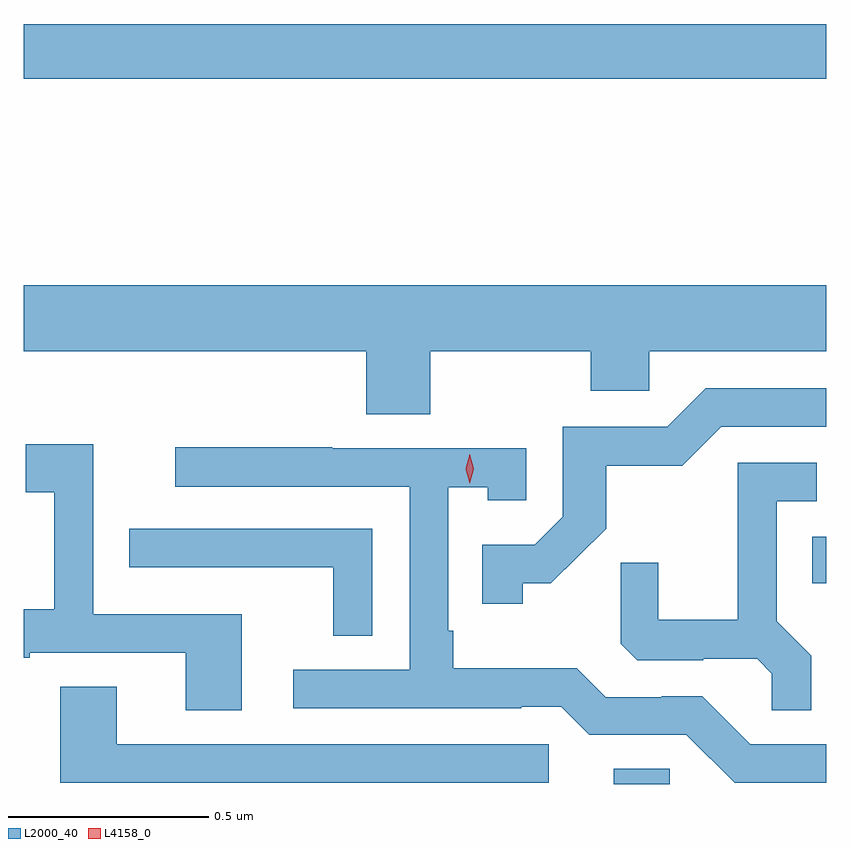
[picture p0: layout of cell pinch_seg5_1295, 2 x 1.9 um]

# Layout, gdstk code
import gdstk
lib = gdstk.Library(unit=1e-6, precision=1e-09)
def R(c, l, rs):  # rectangles x0, y0, x1, y1
    for r in rs: c.add(gdstk.rectangle(r[:2], r[2:], *l))
def P(c, l, *ps):  # polygons
    for p in ps: c.add(gdstk.Polygon(p, *l))
L2000_40 = (2000, 40)
L4158_0 = (4158, 0)

pinch_seg5_1295 = lib.new_cell('pinch_seg5_1295')
R(pinch_seg5_1295, L2000_40, [(385.199,869.001,385.338,869.039), (385.694,869.501,385.728,869.617), (383.728,870.76,385.728,870.896)])
P(pinch_seg5_1295, L2000_40, [(384.741,870.08),(385.141,870.08),(385.141,869.982),(385.287,869.982),(385.287,870.08),(385.728,870.08),(385.728,870.244),(383.728,870.244),(383.728,870.08),(384.581,870.08),(384.581,869.923),(384.741,869.923)],
  [(384.972,869.501),(385.042,869.501),(385.18,869.638),(385.18,869.794),(385.369,869.794),(385.467,869.892),(385.728,869.892),(385.728,869.988),(385.428,869.988),(385.332,869.892),(385.071,869.892),(385.071,869.667),(385.002,869.598),(384.871,869.598),(384.871,869.451),(384.972,869.451)],
  [(384.271,869.424),(383.901,869.424),(383.901,869.848),(383.733,869.848),(383.733,869.728),(383.804,869.728),(383.804,869.437),(383.728,869.437),(383.728,869.316),(383.743,869.316),(383.743,869.328),(384.131,869.328),(384.131,869.185),(384.271,869.185)],
  [(385.728,869.1),(385.539,869.1),(385.419,869.22),(385.318,869.22),(385.318,869.217),(385.179,869.217),(385.106,869.29),(384.799,869.29),(384.799,869.383),(384.786,869.383),(384.786,869.741),(384.885,869.741),(384.885,869.709),(384.981,869.709),(384.981,869.838),(384.497,869.838),(384.497,869.841),(384.105,869.841),(384.105,869.742),(384.69,869.742),(384.69,869.286),(384.399,869.286),(384.399,869.19),(384.968,869.19),(384.968,869.193),(385.068,869.193),(385.137,869.124),(385.38,869.124),(385.5,869.004),(385.728,869.004)],
  [(385.691,869.321),(385.605,869.407),(385.605,869.706),(385.705,869.706),(385.705,869.802),(385.508,869.802),(385.508,869.41),(385.31,869.41),(385.31,869.553),(385.216,869.553),(385.216,869.351),(385.257,869.31),(385.422,869.31),(385.422,869.313),(385.556,869.313),(385.593,869.276),(385.593,869.185),(385.691,869.185)],
  [(384.597,869.637),(383.991,869.637),(383.991,869.542),(384.103,869.542),(384.103,869.541),(384.499,869.541),(384.499,869.371),(384.597,869.371)],
  [(385.036,869.1),(383.959,869.1),(383.959,869.243),(383.819,869.243),(383.819,869.004),(385.036,869.004)])
P(pinch_seg5_1295, L4158_0, [(384.84,869.751),(384.84,869.751),(384.83,869.787),(384.84,869.823),(384.84,869.823),(384.84,869.823),(384.85,869.787),(384.84,869.751)])

lib.write_gds('pinch_seg5_1295.gds')
